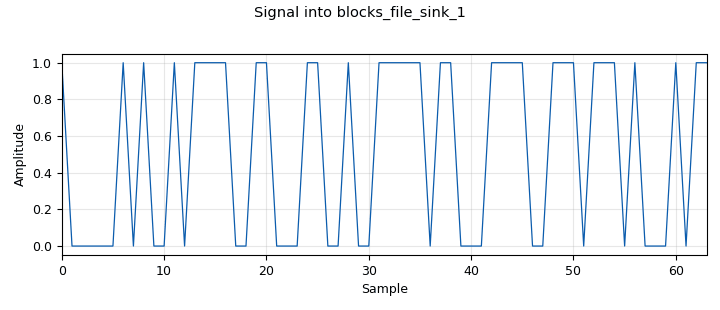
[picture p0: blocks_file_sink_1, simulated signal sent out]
<?xml version='1.0' encoding='utf-8'?>
<?grc format='1' created='3.7.11'?>
<flow_graph>
<block>
<key>options</key>
<param><key>id</key><value>top_block</value></param>
<param><key>generate_options</key><value>qt_gui</value></param>
</block>
<block>
<key>variable</key>
<param><key>id</key><value>samp_rate</value></param>
<param><key>value</key><value>32000</value></param>
</block>
<block>
<key>analog_random_source_x</key>
<param><key>id</key><value>analog_random_source_x_0</value></param>
<param><key>max</key><value>2</value></param>
<param><key>min</key><value>0</value></param>
<param><key>num_samps</key><value>15000</value></param>
<param><key>type</key><value>byte</value></param>
<param><key>repeat</key><value>False</value></param>
</block>
<block>
<key>blocks_file_sink</key>
<param><key>id</key><value>blocks_file_sink_1</value></param>
<param><key>file</key><value>/home/allai/Desktop/Study/Comm/Lab_comm/Project/gr-equalizer_dfe/Testing_tool_kit/training</value></param>
<param><key>type</key><value>byte</value></param>
</block>
<connection><source_block_id>analog_random_source_x_0</source_block_id><sink_block_id>blocks_file_sink_1</sink_block_id><source_key>0</source_key><sink_key>0</sink_key></connection>
</flow_graph>
